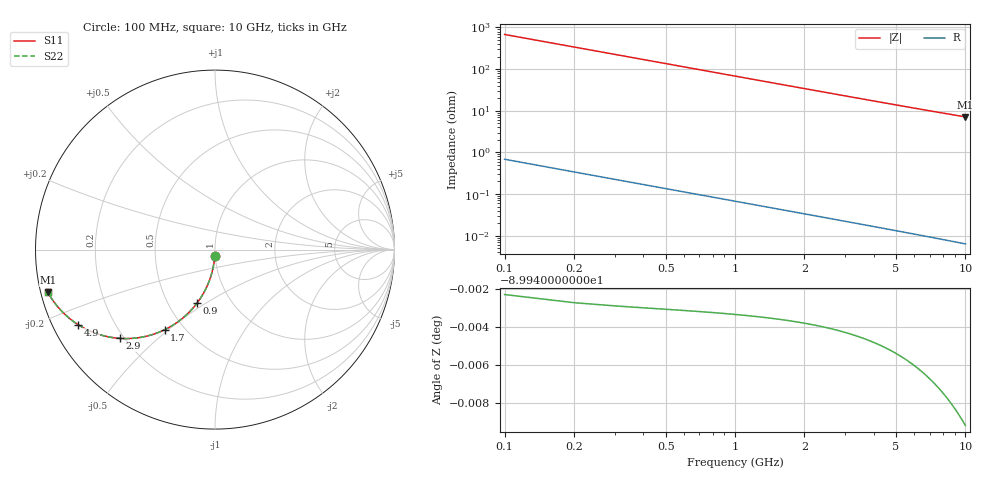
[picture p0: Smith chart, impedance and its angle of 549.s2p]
# Hz S RI R 50.00
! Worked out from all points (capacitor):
!   100 points, 100 MHz to 10 GHz, reference 50 ohm
!   read as one part in shunt: C = 2.34 pF near 100 MHz
!   lowest |Z| = 7.13 ohm at 10 GHz (marker M1)
!   S11 on the Smith chart (normalised r, x): 100 MHz: 0.99, -0.07; 900 MHz: 0.70, -0.46; 1.7 GHz: 0.39, -0.49; 2.9 GHz: 0.18, -0.38; 4.9 GHz: 0.07, -0.25; 10 GHz: 0.02, -0.13
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1e8  -0.00136 -0.0366  0.9986 -0.0369  0.9986 -0.0369  -0.00136 -0.0366
2e8  -0.00544 -0.0729  0.9945 -0.0735  0.9945 -0.0735  -0.00544 -0.0729
3e8  -0.0121 -0.1087  0.9878 -0.1095  0.9878 -0.1095  -0.0121 -0.1087
4e8  -0.0213 -0.1435  0.9786 -0.1446  0.9786 -0.1446  -0.0213 -0.1435
5e8  -0.0329 -0.1772  0.9671 -0.1786  0.9671 -0.1786  -0.0329 -0.1772
6e8  -0.0466 -0.2096  0.9533 -0.2112  0.9533 -0.2112  -0.0466 -0.2096
7e8  -0.0624 -0.2405  0.9376 -0.2424  0.9376 -0.2424  -0.0624 -0.2405
9e8  -0.099 -0.297  0.9009 -0.2994  0.9009 -0.2994  -0.099 -0.297
1.1e9  -0.1409 -0.3459  0.8591 -0.3489  0.8591 -0.3489  -0.1409 -0.3459
1.3e9  -0.1862 -0.3871  0.8137 -0.3906  0.8137 -0.3906  -0.1862 -0.3871
1.7e9  -0.281 -0.4467  0.719 -0.4513  0.719 -0.4513  -0.281 -0.4467
1.8e9  -0.3046 -0.4573  0.6954 -0.4622  0.6954 -0.4622  -0.3046 -0.4573
2.3e9  -0.4166 -0.4894  0.5834 -0.4956  0.5834 -0.4956  -0.4166 -0.4894
2.9e9  -0.5312 -0.4946  0.4687 -0.5025  0.4687 -0.5025  -0.5312 -0.4946
3.4e9  -0.6088 -0.4828  0.3911 -0.4922  0.3911 -0.4922  -0.6088 -0.4828
4.1e9  -0.6933 -0.455  0.3066 -0.4662  0.3066 -0.4662  -0.6933 -0.455
4.9e9  -0.7634 -0.4177  0.2365 -0.4312  0.2365 -0.4312  -0.7634 -0.4177
5.1e9  -0.7775 -0.4083  0.2223 -0.4224  0.2223 -0.4224  -0.7775 -0.4083
5.9e9  -0.8238 -0.3721  0.176 -0.3886  0.176 -0.3886  -0.8238 -0.3721
6.7e9  -0.8578 -0.3392  0.1419 -0.358  0.1419 -0.358  -0.8578 -0.3392
8.4e9  -0.9048 -0.2807  0.0948 -0.3046  0.0948 -0.3046  -0.9048 -0.2807
1e10  -0.9312 -0.2378  0.0683 -0.2666  0.0683 -0.2666  -0.9312 -0.2378
